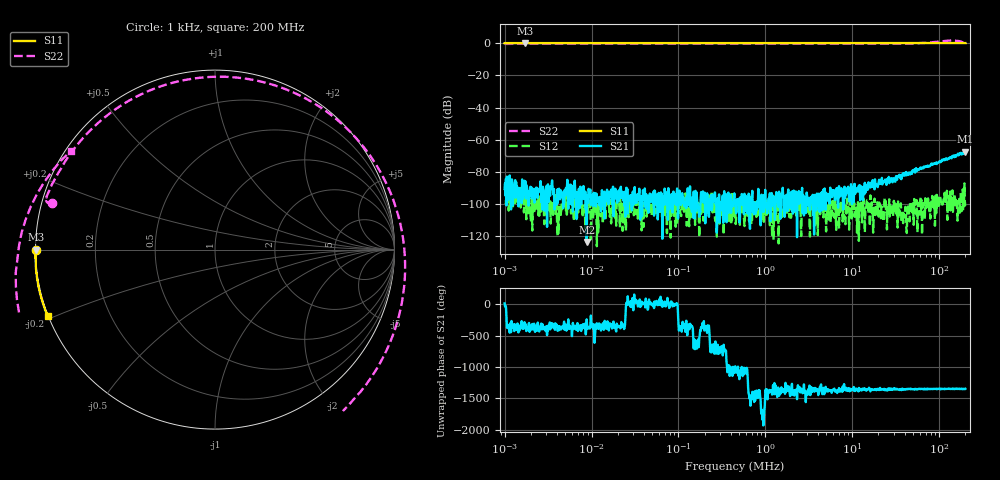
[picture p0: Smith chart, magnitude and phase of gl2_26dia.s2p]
! ListType=Log
# MHZ S RI R 50
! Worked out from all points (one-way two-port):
!   1000 points, 1 kHz to 200 MHz, reference 50 ohm
!   highest |S21| = -67.42 dB at 200 MHz (marker M1); lowest = -123.5 dB at 8.801 kHz (marker M2)
!   lowest |S11| = 0.0 dB at 1.733 kHz (marker M3)
!   |S11| at or under -10 dB: nowhere
!   |S22| runs from -0.5 to 1.7 dB; largest |S21 - S12| = 0.00043
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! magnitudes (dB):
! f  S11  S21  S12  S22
! 1 kHz  0.0  -90.5  -89.9  -0.5
! 1.733 kHz  0.0  -85.7  -97.2  -0.4
! 7.694 kHz  0.0  -97.2  -101.3  -0.2
! 8.801 kHz  0.0  -123.5  -104.1  -0.2
! 58.48 kHz  0.0  -103.2  -102.4  -0.1
! 450 kHz  0.0  -99.4  -102.7  -0.2
! 3.42 MHz  0.0  -96.3  -102.6  -0.2
! 26.31 MHz  0.0  -83.0  -106.0  -0.4
! 45.6 MHz  0.0  -80.4  -110.6  -0.2
! 50.28 MHz  0.0  -79.2  -105.1  -0.2
! 56.13 MHz  0.0  -78.8  -117.4  -0.1
! 57.52 MHz  0.0  -78.2  -100.1  -0.1
! 69.93 MHz  0.0  -76.8  -97.3  0.2
! 75.25 MHz  0.0  -76.8  -99.2  0.3
! 86.08 MHz  0.0  -75.0  -99.6  0.6
! 99.67 MHz  0.0  -74.0  -96.0  1.0
! 112.6 MHz  0.0  -72.0  -96.4  1.3
! 130.4 MHz  0.0  -71.7  -94.8  1.6
! 140.3 MHz  0.0  -70.1  -94.9  1.6
! 158.6 MHz  0.0  -69.6  -96.4  1.5
! 166.5 MHz  0.0  -69.7  -98.2  1.3
! 200 MHz  0.0  -67.4  -96.8  -0.2
